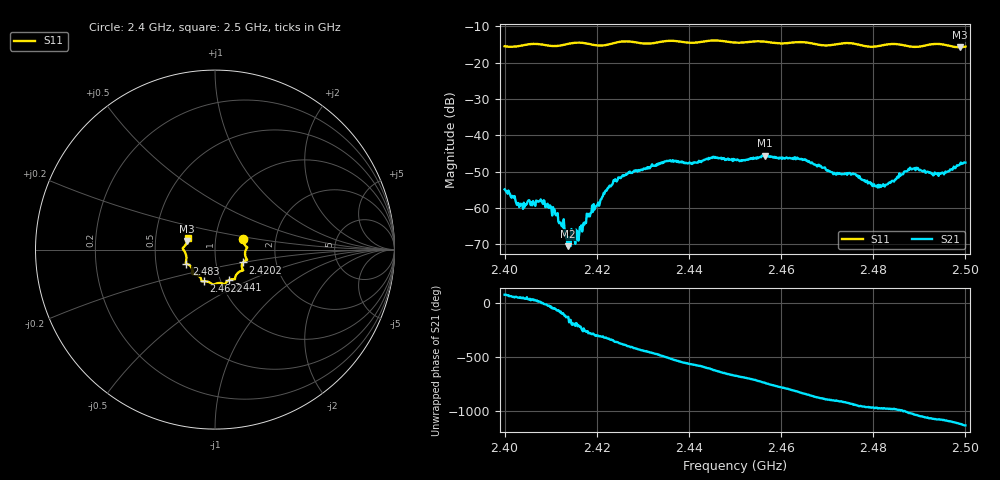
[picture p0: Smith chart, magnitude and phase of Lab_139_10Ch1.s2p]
# Hz S RI R 50
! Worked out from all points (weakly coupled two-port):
!   601 points, 2.4 GHz to 2.5 GHz, reference 50 ohm
!   highest |S21| = -45.57 dB at 2.4565 GHz (marker M1); lowest = -70.5 dB at 2.4137 GHz (marker M2)
!   lowest |S11| = -15.8 dB at 2.4988 GHz (marker M3), VSWR 1.39, Z = 36.4 + j3.51 ohm
!   |S11| at or under -10 dB: start of sweep to end of sweep
!   S12 and S22 are empty: the file has one direction only
!   S11 on the Smith chart (normalised r, x): 2.4 GHz: 1.36, +0.17; 2.4202 GHz: 1.35, -0.20; 2.441 GHz: 1.09, -0.39; 2.4622 GHz: 0.83, -0.30; 2.483 GHz: 0.72, -0.12; 2.5 GHz: 0.73, +0.09
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2.4e9  0.1563 0.0599  0.000528 0.00173  0 0  0 0
2.4035e9  0.1687 0.0224  0.000847 0.000772  0 0  0 0
2.407333e9  0.1788 0.0108  0.00119 0.000274  0 0  0 0
2.409667e9  0.1704 -0.00424  0.000888 -0.000465  0 0  0 0
2.411e9  0.1672 -0.0188  0.000434 -0.000701  0 0  0 0
2.413667e9  0.1735 -0.0473  -0.000205 -0.000218  0 0  0 0
2.416667e9  0.1778 -0.0582  -0.0003 0.000494  0 0  0 0
2.420167e9  0.1558 -0.0718  0.00061 0.000933  0 0  0 0
2.424167e9  0.1532 -0.1086  0.00236 -4.89e-05  0 0  0 0
2.433333e9  0.1129 -0.1524  -0.00207 -0.00352  0 0  0 0
2.441e9  0.0764 -0.1706  -0.00348 0.00225  0 0  0 0
2.45e9  0.0263 -0.1859  0.00314 0.00339  0 0  0 0
2.4565e9  -0.0159 -0.1926  0.00498 -0.00171  0 0  0 0
2.462167e9  -0.0637 -0.1761  0.00052 -0.00476  0 0  0 0
2.466667e9  -0.0762 -0.1668  -0.00328 -0.00268  0 0  0 0
2.480333e9  -0.1389 -0.0901  -0.000595 0.00192  0 0  0 0
2.483e9  -0.1592 -0.0779  -0.0005 0.00206  0 0  0 0
2.483333e9  -0.1608 -0.0773  -0.000366 0.00218  0 0  0 0
2.488167e9  -0.1591 -0.0458  0.00176 0.00298  0 0  0 0
2.494167e9  -0.1797 0.00739  0.00275 0.000198  0 0  0 0
2.498833e9  -0.1551 0.0469  0.00323 -0.00237  0 0  0 0
2.5e9  -0.1528 0.0633  0.0026 -0.00331  0 0  0 0
